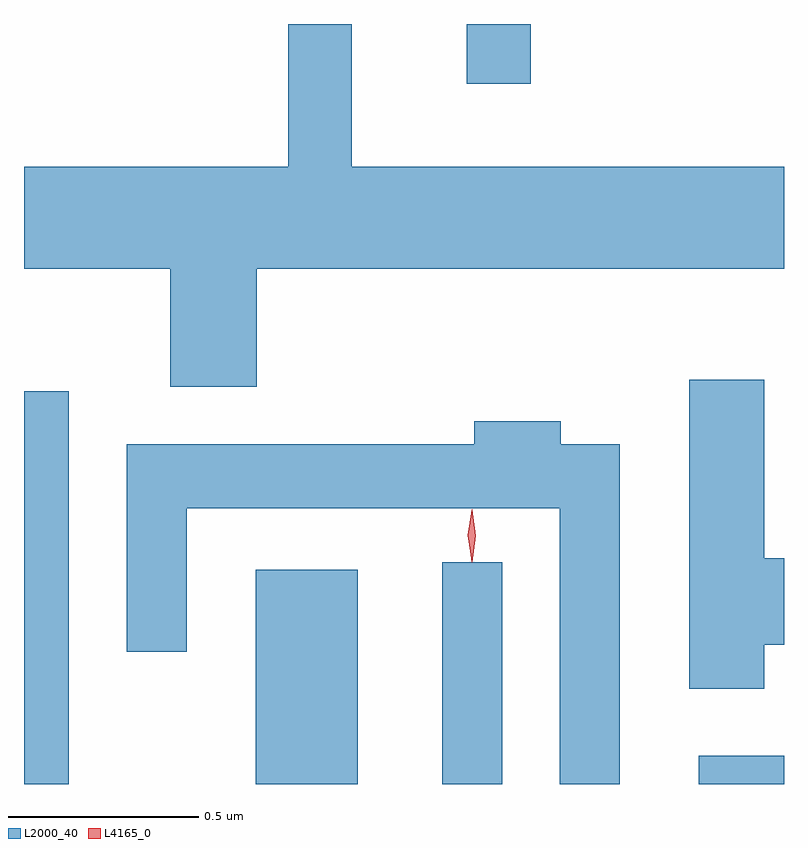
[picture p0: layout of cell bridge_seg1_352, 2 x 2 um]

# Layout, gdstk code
import gdstk
lib = gdstk.Library(unit=1e-6, precision=1e-09)
def R(c, l, rs):  # rectangles x0, y0, x1, y1
    for r in rs: c.add(gdstk.rectangle(r[:2], r[2:], *l))
def P(c, l, *ps):  # polygons
    for p in ps: c.add(gdstk.Polygon(p, *l))
L2000_40 = (2000, 40)
L4165_0 = (4165, 0)

bridge_seg1_352 = lib.new_cell('bridge_seg1_352')
R(bridge_seg1_352, L2000_40, [(906.556,884.9,906.674,885.933), (907.166,884.9,907.434,885.464), (907.656,884.9,907.814,885.483), (908.331,884.9,908.556,884.974), (907.721,886.743,907.889,886.9)])
P(bridge_seg1_352, L2000_40, [(907.169,886.256),(908.556,886.256),(908.556,886.524),(907.419,886.524),(907.419,886.9),(907.251,886.9),(907.251,886.524),(906.556,886.524),(906.556,886.256),(906.941,886.256),(906.941,885.946),(907.169,885.946)],
  [(908.504,885.266),(908.556,885.266),(908.556,885.494),(908.504,885.494),(908.504,885.964),(908.306,885.964),(908.306,885.151),(908.504,885.151)],
  [(908.124,885.794),(907.969,885.794),(907.969,885.854),(907.741,885.854),(907.741,885.794),(906.826,885.794),(906.826,885.248),(906.984,885.248),(906.984,885.626),(907.966,885.626),(907.966,884.9),(908.124,884.9)])
P(bridge_seg1_352, L4165_0, [(907.734,885.487),(907.734,885.488),(907.724,885.554),(907.734,885.62),(907.734,885.62),(907.735,885.62),(907.744,885.554),(907.735,885.488)],
  [(907.734,885.484),(907.725,885.553),(907.734,885.622),(907.735,885.623),(907.735,885.622),(907.745,885.553),(907.735,885.484),(907.735,885.484)])

lib.write_gds('bridge_seg1_352.gds')
